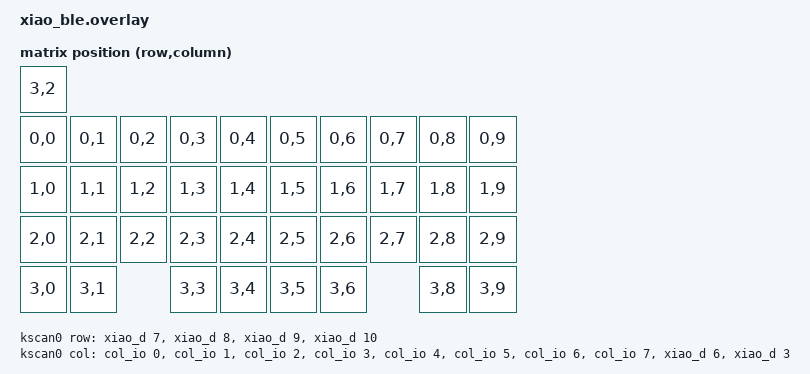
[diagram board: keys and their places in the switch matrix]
#include <physical_layouts.dtsi>
#include <dt-bindings/zmk/matrix_transform.h>
#include <dt-bindings/gpio/gpio.h>
#include <dt-bindings/i2c/i2c.h>

/ {
    chosen {
        zmk,physical-layout = &layout;
        zmk,kscan = &kscan0;
        zmk,matrix-transform = &default_transform;
    };

    kscan0: kscan {
        compatible = "zmk,kscan-gpio-matrix";

        diode-direction = "col2row";
        col-gpios
            = <&col_io 0 GPIO_ACTIVE_HIGH>
            , <&col_io 1 GPIO_ACTIVE_HIGH>
            , <&col_io 2 GPIO_ACTIVE_HIGH>
            , <&col_io 3 GPIO_ACTIVE_HIGH>
            , <&col_io 4 GPIO_ACTIVE_HIGH>
            , <&col_io 5 GPIO_ACTIVE_HIGH>
            , <&col_io 6 GPIO_ACTIVE_HIGH>
            , <&col_io 7 GPIO_ACTIVE_HIGH>
            , <&xiao_d 6 GPIO_ACTIVE_HIGH>
            , <&xiao_d 3 GPIO_ACTIVE_HIGH>
            ;
        row-gpios
            = <&xiao_d 7 (GPIO_ACTIVE_HIGH | GPIO_PULL_DOWN)>
            , <&xiao_d 8 (GPIO_ACTIVE_HIGH | GPIO_PULL_DOWN)>
            , <&xiao_d 9 (GPIO_ACTIVE_HIGH | GPIO_PULL_DOWN)>
            , <&xiao_d 10 (GPIO_ACTIVE_HIGH | GPIO_PULL_DOWN)>
            ;
    };

    default_transform: keymap_transform_0 {
        compatible = "zmk,matrix-transform";
        rows = <4>;
        columns = <10>;
        map = <
        RC(3,2)
        RC(0,0) RC(0,1) RC(0,2) RC(0,3) RC(0,4)   RC(0,5) RC(0,6) RC(0,7) RC(0,8) RC(0,9)
        RC(1,0) RC(1,1) RC(1,2) RC(1,3) RC(1,4)   RC(1,5) RC(1,6) RC(1,7) RC(1,8) RC(1,9)
        RC(2,0) RC(2,1) RC(2,2) RC(2,3) RC(2,4)   RC(2,5) RC(2,6) RC(2,7) RC(2,8) RC(2,9)
        RC(3,0) RC(3,1)         RC(3,3) RC(3,4)   RC(3,5) RC(3,6)         RC(3,8) RC(3,9)
        >;
    };

    layout: layout {
        compatible = "zmk,physical-layout";
        display-name = "Default layout";
        transform = <&default_transform>;
        kscan = <&kscan0>;

        keys // Координаты: ширина высота x y (в мм*100)
            = <&key_physical_attrs 100 100   0   0   0   0   0> // 1: Stray key RC(3,2)

            // Ряд 1 (RC 0,0 - 0,9) - 10 клавиш
            , <&key_physical_attrs 100 100   0 100   0   0   0> // 2
            , <&key_physical_attrs 100 100 100 100   0   0   0> // 3
            , <&key_physical_attrs 100 100 200 100   0   0   0> // 4
            , <&key_physical_attrs 100 100 300 100   0   0   0> // 5
            , <&key_physical_attrs 100 100 400 100   0   0   0> // 6
            , <&key_physical_attrs 100 100 500 100   0   0   0> // 7
            , <&key_physical_attrs 100 100 600 100   0   0   0> // 8
            , <&key_physical_attrs 100 100 700 100   0   0   0> // 9
            , <&key_physical_attrs 100 100 800 100   0   0   0> // 10
            , <&key_physical_attrs 100 100 900 100   0   0   0> // 11

            // Ряд 2 (RC 1,0 - 1,9) - 10 клавиш
            , <&key_physical_attrs 100 100   0 200   0   0   0> // 12
            , <&key_physical_attrs 100 100 100 200   0   0   0> // 13
            , <&key_physical_attrs 100 100 200 200   0   0   0> // 14
            , <&key_physical_attrs 100 100 300 200   0   0   0> // 15
            , <&key_physical_attrs 100 100 400 200   0   0   0> // 16
            , <&key_physical_attrs 100 100 500 200   0   0   0> // 17
            , <&key_physical_attrs 100 100 600 200   0   0   0> // 18
            , <&key_physical_attrs 100 100 700 200   0   0   0> // 19
            , <&key_physical_attrs 100 100 800 200   0   0   0> // 20
            , <&key_physical_attrs 100 100 900 200   0   0   0> // 21

            // Ряд 3 (RC 2,0 - 2,9) - 10 клавиш
            , <&key_physical_attrs 100 100   0 300   0   0   0> // 22
            , <&key_physical_attrs 100 100 100 300   0   0   0> // 23
            , <&key_physical_attrs 100 100 200 300   0   0   0> // 24
            , <&key_physical_attrs 100 100 300 300   0   0   0> // 25
            , <&key_physical_attrs 100 100 400 300   0   0   0> // 26
            , <&key_physical_attrs 100 100 500 300   0   0   0> // 27
            , <&key_physical_attrs 100 100 600 300   0   0   0> // 28
            , <&key_physical_attrs 100 100 700 300   0   0   0> // 29
            , <&key_physical_attrs 100 100 800 300   0   0   0> // 30
            , <&key_physical_attrs 100 100 900 300   0   0   0> // 31

            // Ряд 4 (Нижний, 8 клавиш с пропусками)
            , <&key_physical_attrs 100 100   0 400   0   0   0> // 32: RC(3,0)
            , <&key_physical_attrs 100 100 100 400   0   0   0> // 33: RC(3,1)
            , <&key_physical_attrs 100 100 300 400   0   0   0> // 34: RC(3,3)
            , <&key_physical_attrs 100 100 400 400   0   0   0> // 35: RC(3,4)
            , <&key_physical_attrs 100 100 500 400   0   0   0> // 36: RC(3,5)
            , <&key_physical_attrs 100 100 600 400   0   0   0> // 37: RC(3,6)
            , <&key_physical_attrs 100 100 800 400   0   0   0> // 38: RC(3,8)
            , <&key_physical_attrs 100 100 900 400   0   0   0> // 39: RC(3,9)
            ;
    
    };


};
